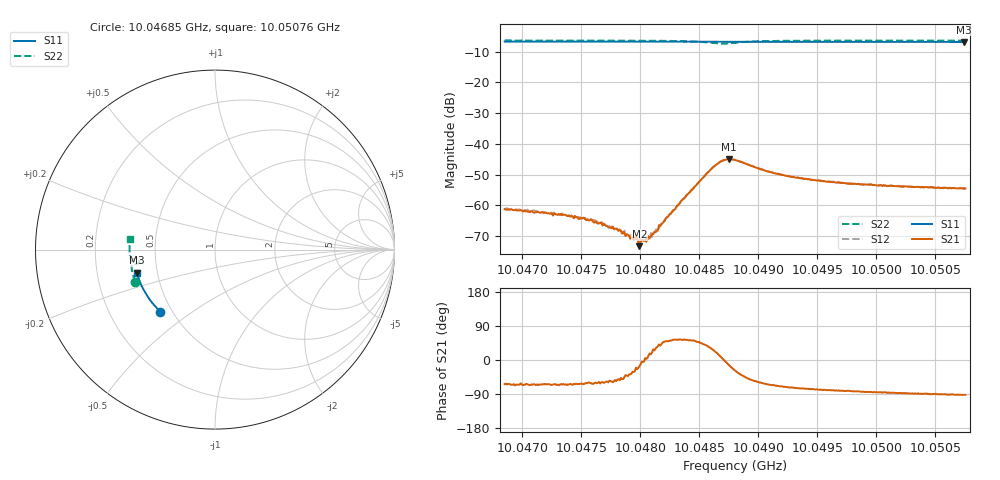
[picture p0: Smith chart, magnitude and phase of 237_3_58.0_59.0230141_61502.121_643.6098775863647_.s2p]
#  HZ  S  RI  R  50.00
! Rohde & Schwarz Vector Network Analyzer
! Rohde-Schwarz,ZNB20-2Port,1311601062101988,3.16
! Created: UTC 3/21/2024, 1:00:55 AM
! freq[Hz]  re:S11  im:S11  re:S21  im:S21  re:S12  im:S12  re:S22  im:S22
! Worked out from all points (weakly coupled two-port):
!   401 points, 10.04685 GHz to 10.05076 GHz, reference 50 ohm
!   highest |S21| = -45.01 dB at 10.04875 GHz (marker M1); lowest = -73.3 dB at 10.04799 GHz (marker M2)
!   lowest |S11| = -6.9 dB at 10.05075 GHz (marker M3), VSWR 2.66, Z = 19.1 - j6.18 ohm
!   |S11| at or under -10 dB: nowhere
!   |S22| runs from -7.4 to -6.4 dB; largest |S21 - S12| = 0.0004
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1.0046851e10  -0.3047 -0.3458  0.000383 -0.000778  0.000456 -0.000739  -0.4444 -0.18
1.0047251e10  -0.3235 -0.3268  0.000301 -0.000675  0.000373 -0.000648  -0.4532 -0.1541
1.0047505e10  -0.3348 -0.3144  0.000283 -0.000536  0.000304 -0.000532  -0.458 -0.137
1.0047661e10  -0.3415 -0.3067  0.000244 -0.000459  0.000277 -0.000451  -0.4605 -0.126
1.0047788e10  -0.3469 -0.3002  0.00025 -0.000332  0.000281 -0.00033  -0.4622 -0.1169
1.0047847e10  -0.3493 -0.297  0.00022 -0.000267  0.000266 -0.000273  -0.4632 -0.1124
1.0047895e10  -0.3514 -0.2946  0.000243 -0.000222  0.000268 -0.000191  -0.4637 -0.1089
1.0047993e10  -0.3553 -0.2895  0.000207 -6.2e-05  0.00028 -5.77e-05  -0.4645 -0.1012
1.0048022e10  -0.3564 -0.2879  0.000272 -2.4e-05  0.000265 -1.12e-05  -0.4649 -0.0989
1.0048061e10  -0.3581 -0.2859  0.000287 2.74e-05  0.000259 9.43e-05  -0.465 -0.0956
1.004813e10  -0.3607 -0.2823  0.000315 0.000183  0.000308 0.000235  -0.4653 -0.0898
1.0048159e10  -0.362 -0.2807  0.000358 0.000314  0.000314 0.000292  -0.4653 -0.0874
1.0048374e10  -0.37 -0.2692  0.000758 0.00105  0.000741 0.00109  -0.4622 -0.0665
1.0048608e10  -0.3782 -0.2561  0.00349 0.00194  0.00338 0.00214  -0.4364 -0.0468
1.0048686e10  -0.3807 -0.2518  0.00513 0.000684  0.00513 0.000998  -0.4229 -0.0563
1.0048755e10  -0.3831 -0.2482  0.00544 -0.00139  0.00555 -0.00101  -0.4235 -0.0721
1.0048803e10  -0.3849 -0.2456  0.00481 -0.00254  0.005 -0.00227  -0.4313 -0.0795
1.0049145e10  -0.3963 -0.2261  0.00127 -0.00306  0.00147 -0.00301  -0.468 -0.0571
1.0049458e10  -0.4058 -0.2077  0.00059 -0.00249  0.000719 -0.0025  -0.4744 -0.0304
1.0050112e10  -0.4225 -0.1681  0.000111 -0.00206  0.000259 -0.00206  -0.4761 0.0174
1.0050746e10  -0.4352 -0.1284  -6.23e-05 -0.00185  2.04e-05 -0.00191  -0.4722 0.0605
1.0050756e10  -0.4355 -0.1277  -6.11e-05 -0.00187  2.87e-05 -0.0019  -0.4722 0.0612
